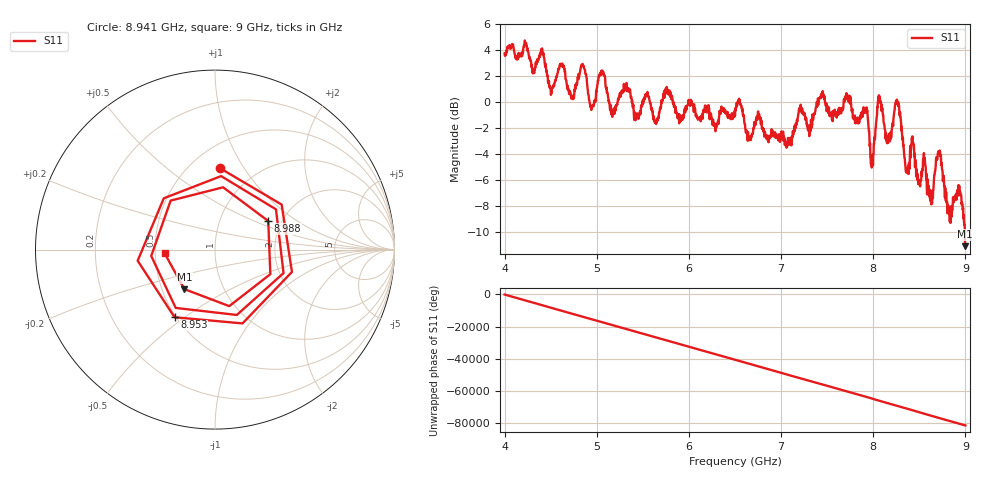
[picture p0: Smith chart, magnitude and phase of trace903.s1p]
! Created with skrf 1.8.0 (http://scikit-rf.org).
# Hz S RI R 50.0
!freq ReS11 ImS11
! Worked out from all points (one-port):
!   1601 points, 4 GHz to 9 GHz, reference 50 ohm
!   lowest |S11| = -11.1 dB at 8.997 GHz (marker M1), VSWR 1.77, Z = 32.5 - j15.5 ohm
!   |S11| at or under -10 dB: 8.994521 GHz to end of sweep
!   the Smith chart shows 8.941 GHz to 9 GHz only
!   S11 on the Smith chart (normalised r, x): 8.941 GHz: 0.69, +0.79; 8.953 GHz: 0.49, -0.46; 8.988 GHz: 1.70, +0.61; 9 GHz: 0.56, -0.02
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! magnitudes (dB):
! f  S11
! 4 GHz  3.8
! 4.406 GHz  4.1
! 4.509 GHz  0.7
! 4.625 GHz  3.0
! 4.731 GHz  0.4
! 4.847 GHz  2.9
! 4.944 GHz  -0.5
! 5.047 GHz  2.4
! 5.25 GHz  0.7
! 5.875 GHz  -1.0
! 6.5 GHz  -1.0
! 7.125 GHz  -2.6
! 7.75 GHz  0.2
! 7.919 GHz  -0.5
! 7.984 GHz  -5.0
! 8.059 GHz  0.3
! 8.162 GHz  -3.0
! 8.259 GHz  -0.1
! 8.375 GHz  -5.0
! 8.425 GHz  -2.6
! 8.628 GHz  -7.7
! 8.709 GHz  -3.9
! 8.825 GHz  -8.4
! 8.941 GHz  -6.9
! 8.953 GHz  -7.2
! 8.988 GHz  -9.5
! 8.997 GHz  -11.1
! 9 GHz  -11.0
